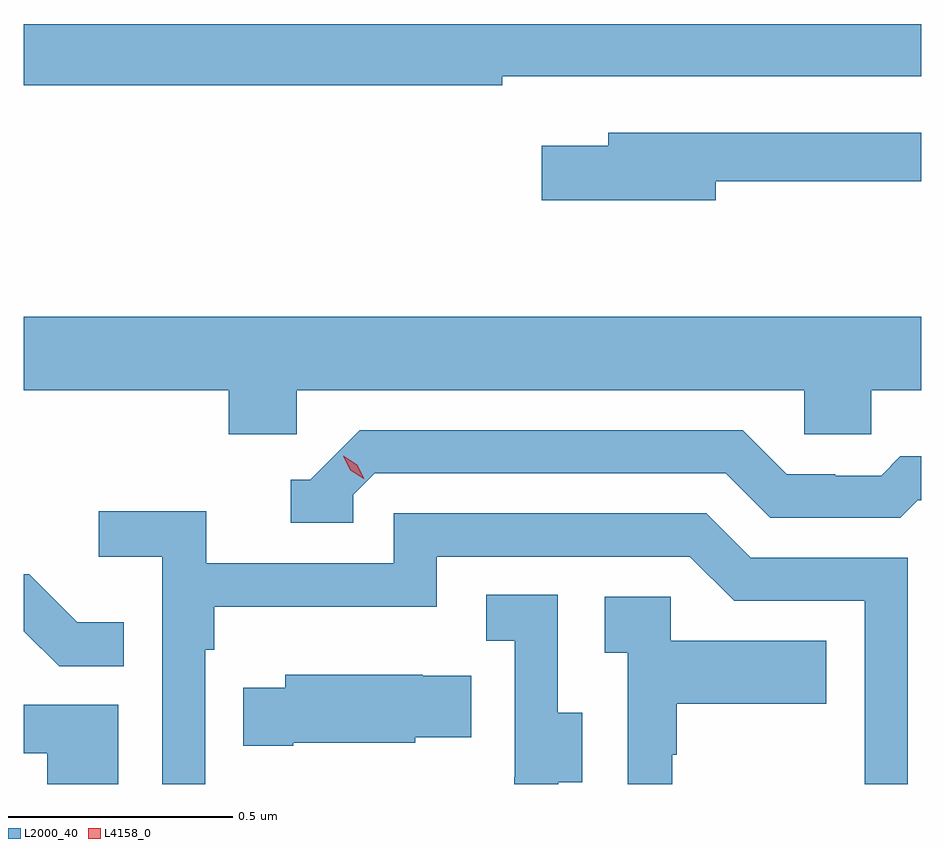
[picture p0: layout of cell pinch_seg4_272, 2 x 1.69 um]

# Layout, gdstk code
import gdstk
lib = gdstk.Library(unit=1e-6, precision=1e-09)
def P(c, l, *ps):  # polygons
    for p in ps: c.add(gdstk.Polygon(p, *l))
L2000_40 = (2000, 40)
L4158_0 = (4158, 0)

pinch_seg4_272 = lib.new_cell('pinch_seg4_272')
P(pinch_seg4_272, L2000_40, [(935.144,813.504),(936.078,813.504),(936.078,813.62),(934.078,813.62),(934.078,813.484),(935.144,813.484)],
  [(935.62,813.27),(936.078,813.27),(936.078,813.378),(935.381,813.378),(935.381,813.349),(935.232,813.349),(935.232,813.227),(935.62,813.227)],
  [(934.686,812.804),(935.817,812.804),(935.817,812.706),(935.967,812.706),(935.967,812.804),(936.078,812.804),(936.078,812.968),(934.078,812.968),(934.078,812.804),(934.535,812.804),(934.535,812.706),(934.686,812.706)],
  [(934.812,812.571),(934.86,812.619),(935.643,812.619),(935.742,812.52),(936.031,812.52),(936.07,812.559),(936.078,812.559),(936.078,812.656),(936.031,812.656),(935.989,812.613),(935.886,812.613),(935.886,812.616),(935.779,812.616),(935.68,812.715),(934.827,812.715),(934.716,812.604),(934.673,812.604),(934.673,812.508),(934.812,812.508)],
  [(934.482,812.225),(934.502,812.225),(934.502,812.321),(934.998,812.321),(934.998,812.433),(935.562,812.433),(935.661,812.334),(935.952,812.334),(935.952,811.926),(936.048,811.926),(936.048,812.43),(935.698,812.43),(935.599,812.529),(934.902,812.529),(934.902,812.418),(934.484,812.418),(934.484,812.534),(934.245,812.534),(934.245,812.432),(934.386,812.432),(934.386,811.926),(934.482,811.926)],
  [(934.301,812.287),(934.197,812.287),(934.09,812.394),(934.078,812.394),(934.078,812.267),(934.157,812.188),(934.301,812.188)],
  [(935.269,811.93),(935.323,811.93),(935.323,812.085),(935.268,812.085),(935.268,812.348),(935.109,812.348),(935.109,812.245),(935.172,812.245),(935.172,811.941),(935.171,811.941),(935.171,811.926),(935.269,811.926)],
  [(935.523,811.991),(935.533,811.991),(935.533,812.105),(935.867,812.105),(935.867,812.245),(935.52,812.245),(935.52,812.343),(935.373,812.343),(935.373,812.219),(935.424,812.219),(935.424,811.926),(935.523,811.926)],
  [(934.678,812.018),(934.95,812.018),(934.95,812.03),(935.075,812.03),(935.075,812.167),(934.967,812.167),(934.967,812.17),(934.661,812.17),(934.661,812.14),(934.567,812.14),(934.567,812.011),(934.678,812.011)],
  [(934.288,812.103),(934.078,812.103),(934.078,811.995),(934.13,811.995),(934.13,811.926),(934.288,811.926)])
P(pinch_seg4_272, L4158_0, [(934.836,812.606),(934.806,812.625),(934.79,812.657),(934.79,812.658),(934.79,812.658),(934.821,812.638),(934.837,812.606),(934.837,812.606)])

lib.write_gds('pinch_seg4_272.gds')
